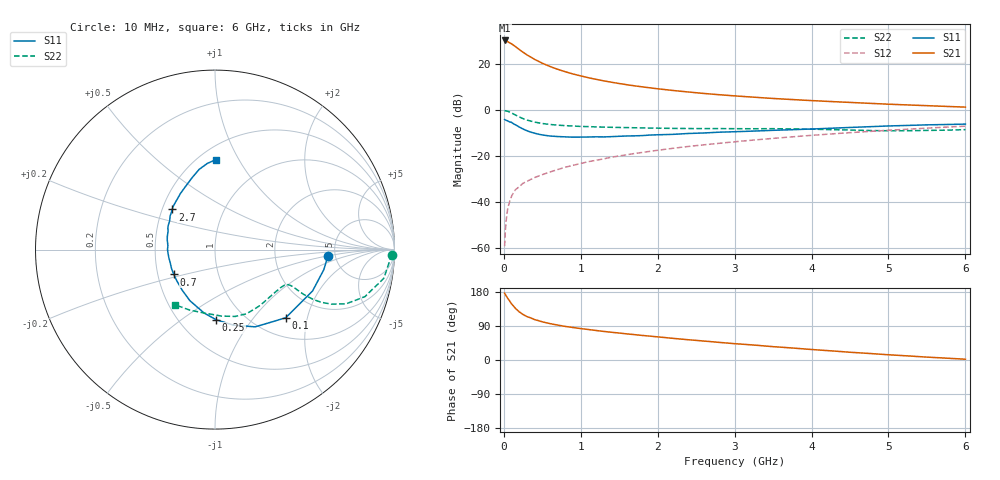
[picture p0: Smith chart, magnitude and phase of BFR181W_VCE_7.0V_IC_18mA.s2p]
! (c) 2017  Infineon Technologies AG, Munich
! Infineon Technologies  Discrete & RF Semiconductors
! BFR181W
! VCE =  7.0 V,  IC =  18 mA
! Common Emitter S-Parameters:  Jan 2017
# GHz  S  MA  R  50
!  f  S11  S21  S12  S22
! GHz  MAG  ANG  MAG  ANG  MAG  ANG  MAG  ANG
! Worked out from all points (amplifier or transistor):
!   77 points, 10 MHz to 6 GHz, reference 50 ohm
!   highest |S21| = 30.4 dB at 10 MHz (marker M1)
!   |S21| within 3 dB of that: start of sweep to 163.7 MHz
!   unconditionally stable (mu >= 1): 794 MHz to 2.671 GHz
!   at 130 MHz: K = 0.37, MSG = 31.9 dB, |S12| = -35.7 dB
!   at 2.2 GHz: K = 1.04, MAG = 11.4 dB, |S12| = -16.5 dB
!   at 6 GHz: K = 0.83, MSG = 4.1 dB, |S12| = -6.9 dB
!   S11 on the Smith chart (normalised r, x): 10 MHz: 4.33, -0.55; 100 MHz: 1.37, -1.48; 250 MHz: 0.74, -0.69; 700 MHz: 0.61, -0.18; 2.7 GHz: 0.56, +0.28; 6 GHz: 0.60, +0.80
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0.01  0.6297 -3.5  33.17 176.4  0.0011 95.1  0.9848 -1.6
0.02  0.6164 -10.5  32.65 172.5  0.0024 101.8  0.9756 -3.6
0.05  0.5904 -23.0  31.35 162.9  0.0071 78.8  0.9543 -9.6
0.1  0.5471 -44.0  28.07 148.0  0.0134 74.2  0.8758 -17.4
0.15  0.4852 -62.5  24.46 136.4  0.0186 68.5  0.7917 -22.4
0.2  0.4329 -76.4  21.08 127.1  0.0217 65.8  0.7169 -25.1
0.25  0.3908 -89.0  18.36 120.1  0.0258 64.7  0.6591 -26.4
0.3  0.3589 -99.6  16.1 114.6  0.0284 64.5  0.613 -26.9
0.4  0.3171 -116.2  12.84 106.6  0.0343 66.2  0.5527 -26.8
0.5  0.2907 -129.0  10.58 100.7  0.0397 66.5  0.5159 -26.2
0.6  0.2753 -140.1  8.997 96.0  0.0453 67.1  0.4916 -25.7
0.7  0.2684 -148.9  7.805 92.1  0.0513 69.2  0.475 -25.4
0.9  0.26 -163.7  6.174 85.7  0.0634 70.2  0.4541 -25.6
1.1  0.2622 -174.9  5.121 80.4  0.0762 71.7  0.4411 -26.5
1.3  0.2633 175.4  4.37 75.4  0.0878 71.8  0.4308 -28.1
1.5  0.2717 168.3  3.825 71.1  0.1012 71.7  0.4226 -30.1
2.1  0.296 150.1  2.818 59.1  0.1417 70.3  0.4057 -38.8
2.7  0.3271 136.8  2.255 48.3  0.184 67.5  0.3993 -49.6
3.1  0.3459 128.9  2.007 41.7  0.2137 65.1  0.3972 -56.9
4.1  0.3974 112.6  1.597 26.3  0.2927 57.9  0.3846 -75.3
5.1  0.4608 99.8  1.338 12.6  0.3753 49.3  0.3583 -100.9
6  0.5003 89.6  1.173 2.0  0.4515 40.5  0.3795 -125.9
